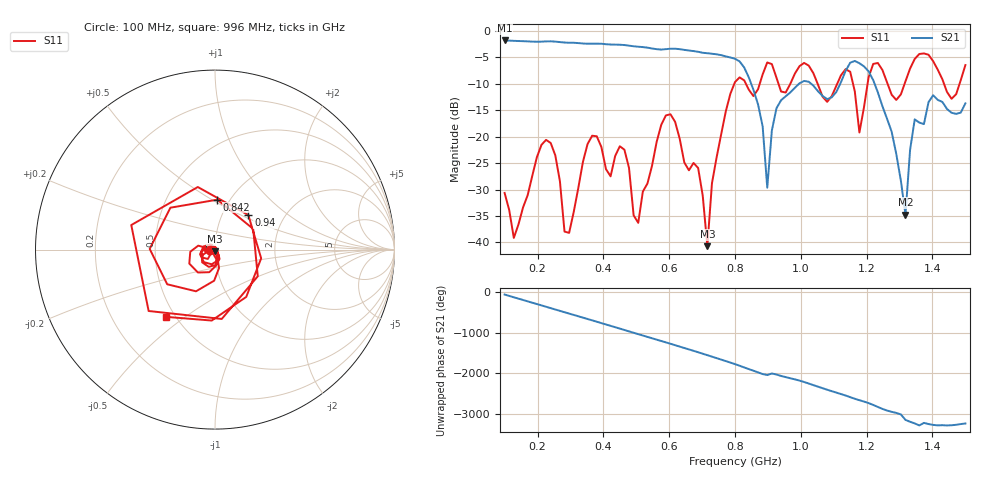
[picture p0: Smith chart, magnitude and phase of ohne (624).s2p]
! NanoVNA-App
! Date: 2025-09-25 14:25:39
! Start: 100MHz Stop: 1,5GHz Points: 101
! S-Parameter data: F S11 S21 S12 S22
# Hz S RI R 50
!  Frequency  S11_Real  S11_Imag  S21_Real  S21_Imag  S12_Real  S12_Imag  S22_Real  S22_Imag
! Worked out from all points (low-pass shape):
!   101 points, 100 MHz to 1.5 GHz, reference 50 ohm
!   highest |S21| = -1.79 dB at 100 MHz (marker M1); lowest = -34.7 dB at 1.318 GHz (marker M2)
!   |S21| within 3 dB of the highest: start of sweep to 770.9 MHz
!   lowest |S11| = -40.7 dB at 716 MHz (marker M3), VSWR 1.02, Z = 49.9 - j0.909 ohm
!   |S11| at or under -10 dB: start of sweep to 797.8 MHz; 833.2 MHz to 875.1 MHz (41.9 MHz wide, 4.91 % of centre); 1.051 GHz to 1.11 GHz (59.27 MHz wide, 5.48 % of centre) (the widest 3 of 7)
!   S12 and S22 are empty: the file has one direction only
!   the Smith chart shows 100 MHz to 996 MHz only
!   S11 on the Smith chart (normalised r, x): 100 MHz: 0.94, -0.01; 842 MHz: 0.88, +0.53; 940 MHz: 1.33, +0.55; 996 MHz: 0.44, -0.42
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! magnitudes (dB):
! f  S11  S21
! 100 MHz  -30.6  -1.8
! 128 MHz  -39.1  -1.9
! 226 MHz  -20.6  -2.0
! 296 MHz  -38.2  -2.2
! 338 MHz  -24.7  -2.4
! 464 MHz  -22.5  -2.7
! 506 MHz  -36.3  -3.0
! 576 MHz  -17.7  -3.5
! 688 MHz  -25.9  -3.9
! 716 MHz  -40.7  -4.2
! 800 MHz  -9.7  -5.3
! 842 MHz  -11.1  -8.8
! 898 MHz  -6.0  -29.6
! 940 MHz  -11.5  -13.1
! 996 MHz  -6.7  -9.9
! 1.038 GHz  -8.0  -10.3
! 1.178 GHz  -19.2  -6.1
! 1.22 GHz  -6.2  -9.3
! 1.276 GHz  -12.1  -19.1
! 1.318 GHz  -9.5  -34.7
! 1.346 GHz  -5.3  -16.7
! 1.5 GHz  -6.5  -13.7
